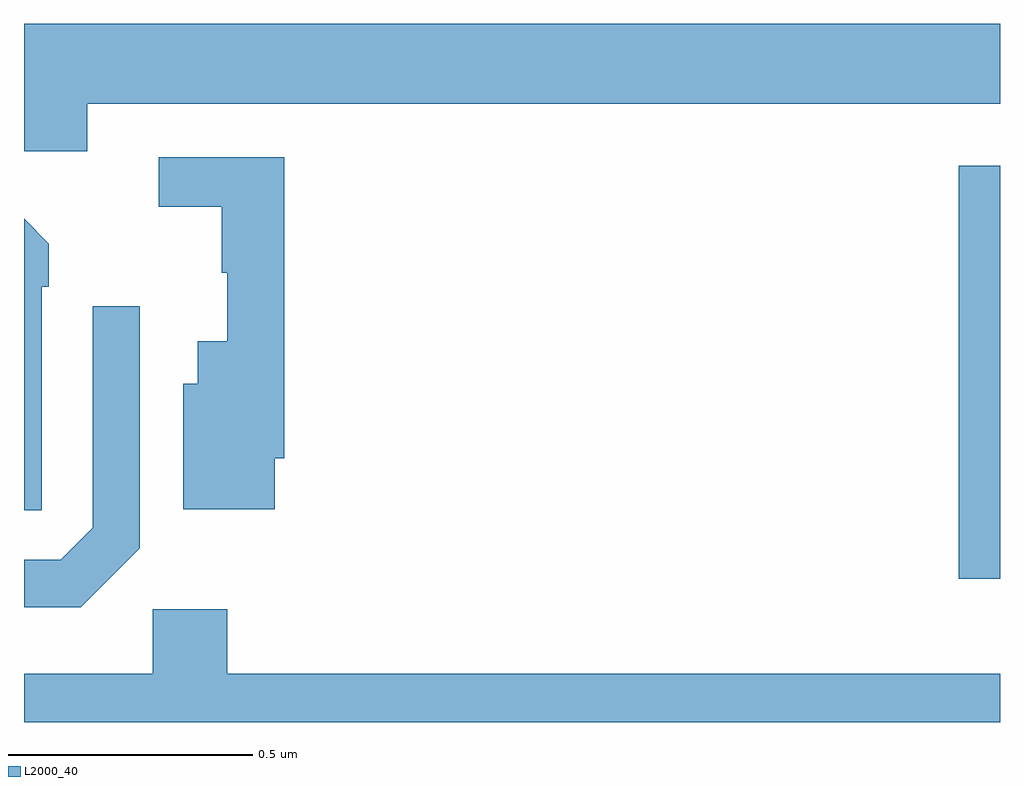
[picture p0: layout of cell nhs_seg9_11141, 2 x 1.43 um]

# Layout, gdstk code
import gdstk
lib = gdstk.Library(unit=1e-6, precision=1e-09)
def R(c, l, rs):  # rectangles x0, y0, x1, y1
    for r in rs: c.add(gdstk.rectangle(r[:2], r[2:], *l))
def P(c, l, *ps):  # polygons
    for p in ps: c.add(gdstk.Polygon(p, *l))
L2000_40 = (2000, 40)

nhs_seg9_11141 = lib.new_cell('nhs_seg9_11141')
R(nhs_seg9_11141, L2000_40, [(253.915,1180.794,254,1181.641)])
P(nhs_seg9_11141, L2000_40, [(252.13,1181.768),(254,1181.768),(254,1181.932),(252,1181.932),(252,1181.67),(252.13,1181.67)],
  [(252.514,1181.041),(252.533,1181.041),(252.533,1181.658),(252.276,1181.658),(252.276,1181.557),(252.405,1181.557),(252.405,1181.421),(252.416,1181.421),(252.416,1181.281),(252.356,1181.281),(252.356,1181.194),(252.326,1181.194),(252.326,1180.937),(252.514,1180.937)],
  [(252.036,1181.393),(252.051,1181.393),(252.051,1181.481),(252,1181.532),(252,1180.935),(252.036,1180.935)],
  [(252.237,1180.857),(252.237,1181.353),(252.141,1181.353),(252.141,1180.899),(252.075,1180.833),(252,1180.833),(252,1180.736),(252.116,1180.736)],
  [(254,1180.6),(252.416,1180.6),(252.416,1180.732),(252.264,1180.732),(252.264,1180.6),(252,1180.6),(252,1180.5),(254,1180.5)])

lib.write_gds('nhs_seg9_11141.gds')
